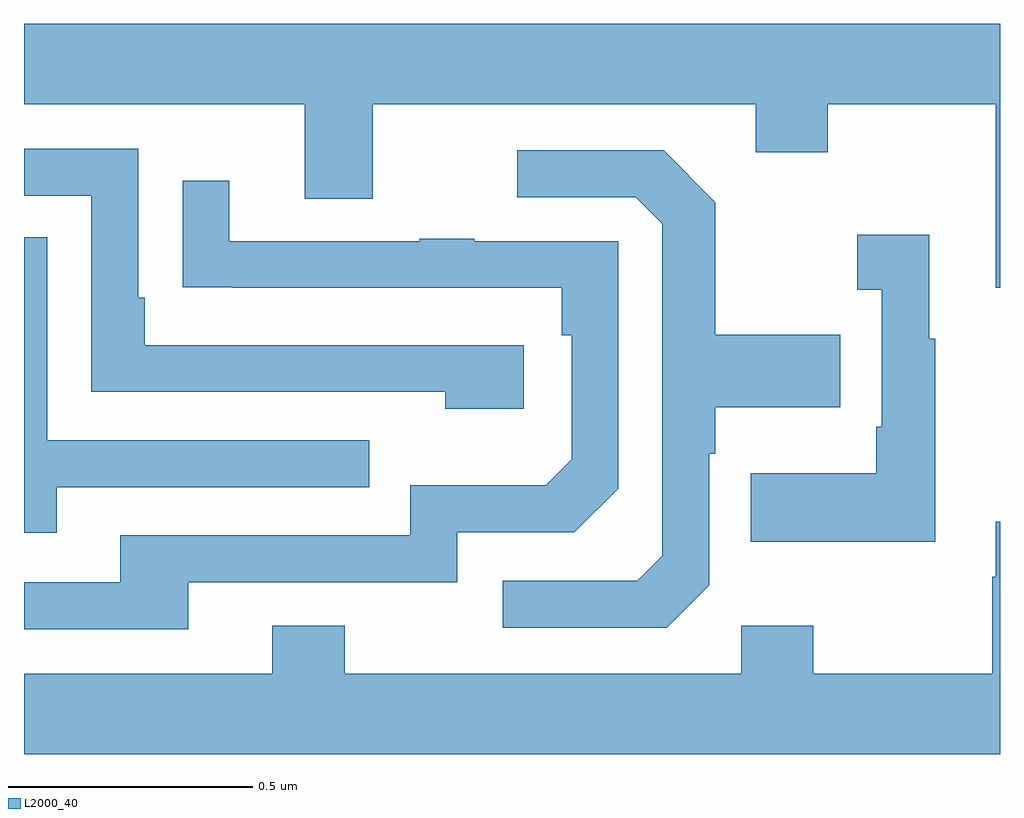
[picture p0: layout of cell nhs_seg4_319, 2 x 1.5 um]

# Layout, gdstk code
import gdstk
lib = gdstk.Library(unit=1e-6, precision=1e-09)
def P(c, l, *ps):  # polygons
    for p in ps: c.add(gdstk.Polygon(p, *l))
L2000_40 = (2000, 40)

nhs_seg4_319 = lib.new_cell('nhs_seg4_319')
P(nhs_seg4_319, L2000_40, [(116,823.624),(114,823.624),(114,823.46),(114.575,823.46),(114.575,823.266),(114.715,823.266),(114.715,823.46),(115.499,823.46),(115.499,823.361),(115.647,823.361),(115.647,823.46),(115.991,823.46),(115.991,823.083),(116,823.083)],
  [(115.024,822.966),(114.247,822.966),(114.247,823.063),(114.234,823.063),(114.234,823.368),(114,823.368),(114,823.272),(114.138,823.272),(114.138,822.87),(114.863,822.87),(114.863,822.836),(115.024,822.836)],
  [(115.404,822.474),(115.404,822.743),(115.417,822.743),(115.417,822.839),(115.673,822.839),(115.673,822.987),(115.417,822.987),(115.417,823.259),(115.311,823.365),(115.011,823.365),(115.011,823.269),(115.254,823.269),(115.308,823.215),(115.308,822.534),(115.257,822.483),(114.981,822.483),(114.981,822.387),(115.317,822.387)],
  [(114.337,822.48),(114.888,822.48),(114.888,822.582),(115.128,822.582),(115.218,822.672),(115.218,823.179),(114.923,823.179),(114.923,823.184),(114.811,823.184),(114.811,823.179),(114.421,823.179),(114.421,823.303),(114.325,823.303),(114.325,823.084),(114.427,823.084),(114.427,823.083),(115.102,823.083),(115.102,822.986),(115.122,822.986),(115.122,822.732),(115.069,822.679),(114.792,822.679),(114.792,822.576),(114.197,822.576),(114.197,822.48),(114,822.48),(114,822.384),(114.337,822.384)],
  [(115.867,822.979),(115.855,822.979),(115.855,823.192),(115.707,823.192),(115.707,823.079),(115.758,823.079),(115.758,822.799),(115.746,822.799),(115.746,822.703),(115.489,822.703),(115.489,822.563),(115.867,822.563)],
  [(114.067,822.675),(114.707,822.675),(114.707,822.771),(114.048,822.771),(114.048,823.187),(114,823.187),(114,822.581),(114.067,822.581)],
  [(116,822.604),(115.991,822.604),(115.991,822.491),(115.984,822.491),(115.984,822.292),(115.617,822.292),(115.617,822.391),(115.47,822.391),(115.47,822.292),(114.657,822.292),(114.657,822.391),(114.509,822.391),(114.509,822.292),(114,822.292),(114,822.128),(116,822.128)])

lib.write_gds('nhs_seg4_319.gds')
